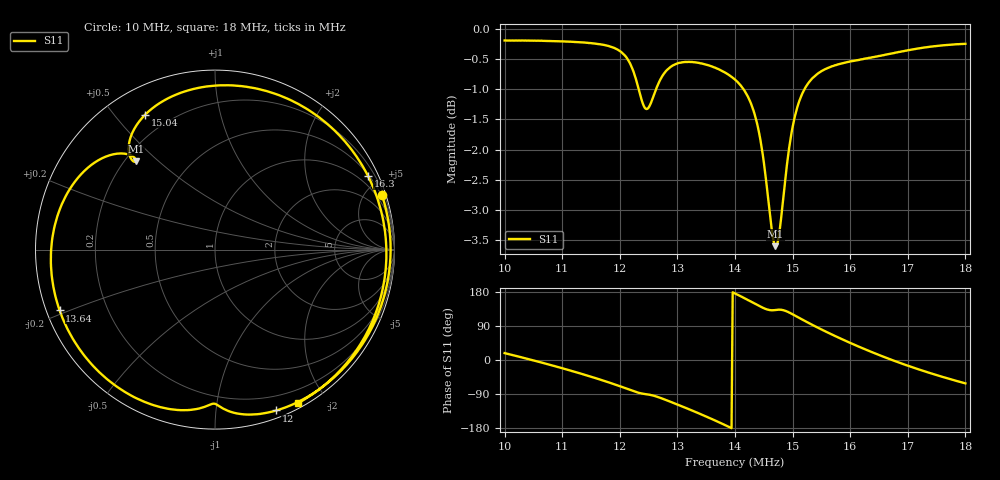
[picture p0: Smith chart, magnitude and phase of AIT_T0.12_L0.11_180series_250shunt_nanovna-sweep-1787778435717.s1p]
! NanoVNA Web complex sweep
! Processing: original sample grid, no browser smoothing
# Hz S RI R 50
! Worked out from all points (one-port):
!   401 points, 10 MHz to 18 MHz, reference 50 ohm
!   lowest |S11| = -3.6 dB at 14.7 MHz (marker M1), VSWR 4.89, Z = 12.2 + j21.2 ohm
!   |S11| at or under -10 dB: nowhere
!   S11 on the Smith chart (normalised r, x): 10 MHz: 0.43, +6.22; 12 MHz: 0.06, -1.45; 13.64 MHz: 0.04, -0.19; 15.04 MHz: 0.11, +0.60; 16.3 MHz: 0.56, +4.34; 18 MHz: 0.05, -1.67
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1e7  0.9298 0.3054
1.052e7  0.9779 -0.0312
1.1e7  0.9079 -0.3607
1.15e7  0.6995 -0.6774
1.2e7  0.3421 -0.896
1.232e7  0.0591 -0.8924
1.246e7  -0.00487 -0.8584
1.264e7  -0.1027 -0.8883
1.3e7  -0.4321 -0.8309
1.33e7  -0.6773 -0.6499
1.364e7  -0.8656 -0.3389
1.4e7  -0.9056 0.0686
1.422e7  -0.8196 0.3195
1.442e7  -0.6513 0.497
1.46e7  -0.4702 0.5258
1.47e7  -0.4406 0.4917
1.482e7  -0.4767 0.527
1.5e7  -0.4225 0.7136
1.504e7  -0.3887 0.752
1.526e7  -0.1443 0.8884
1.548e7  0.126 0.9128
1.572e7  0.4009 0.8422
1.6e7  0.6644 0.6654
1.63e7  0.8533 0.4082
1.664e7  0.9492 0.0824
1.7e7  0.9277 -0.249
1.752e7  0.7339 -0.6324
1.8e7  0.4614 -0.856
